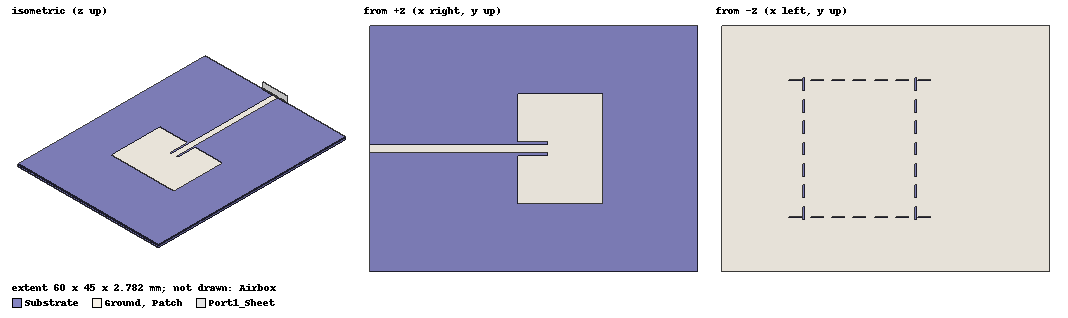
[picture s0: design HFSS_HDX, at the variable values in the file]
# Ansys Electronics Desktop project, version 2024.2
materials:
  vacuum: permittivity=1
  RO4350B: permittivity=3.48 permeability=1 dielectric_loss_tangent=0.0037
  pec: conductivity=1e+30
  air: permittivity=1.0006 permeability=1.0000004

design HFSS_HDX (HFSS, HFSS Terminal Network, model units mm)
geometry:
  Substrate [RO4350B] = box(corner=(-30mm, -22.5mm, 0mm), size=(60mm, 45mm, 0.762mm))
  Ground [pec] = rectangle(corner=(-30mm, -22.5mm, 0mm), x_size=60mm, y_size=45mm)
  Patch [pec] = rectangle(corner=(-2.99995mm, -10.01535mm, 0.762mm), x_size=15.5383mm, y_size=20.0307mm)
  Feed = rectangle(corner=(-30mm, -0.7991mm, 0.762mm), x_size=32.58775mm, y_size=1.5982mm)
  Patch.unite(Feed)
  TopCut_0_inset_gap_top = rectangle(corner=(-2.99995mm, 0.7991mm, 0.762mm), x_size=5.5877mm, y_size=0.4795mm)
  TopCut_1_inset_gap_bottom = rectangle(corner=(-2.99995mm, -1.2786mm, 0.762mm), x_size=5.5877mm, y_size=0.4795mm)
  Patch.subtract(TopCut_0_inset_gap_top, TopCut_1_inset_gap_bottom)
  GroundCut_0_ebg_0 = rectangle(corner=(-8.1707054mm, -12.677164mm, 0mm), x_size=2.3717798mm, y_size=0.32362845mm)
  GroundCut_1_ebg_1 = rectangle(corner=(-4.2527003mm, -12.677164mm, 0mm), x_size=2.3717798mm, y_size=0.32362845mm)
  GroundCut_2_ebg_2 = rectangle(corner=(-0.33469507mm, -12.677164mm, 0mm), x_size=2.3717798mm, y_size=0.32362845mm)
  GroundCut_3_ebg_3 = rectangle(corner=(3.5833101mm, -12.677164mm, 0mm), x_size=2.3717798mm, y_size=0.32362845mm)
  GroundCut_4_ebg_4 = rectangle(corner=(7.5013153mm, -12.677164mm, 0mm), x_size=2.3717798mm, y_size=0.32362845mm)
  GroundCut_5_ebg_5 = rectangle(corner=(11.41932mm, -12.677164mm, 0mm), x_size=2.3717798mm, y_size=0.32362845mm)
  GroundCut_6_ebg_6 = rectangle(corner=(15.337326mm, -12.677164mm, 0mm), x_size=2.3717798mm, y_size=0.32362845mm)
  GroundCut_7_ebg_7 = rectangle(corner=(-8.1707054mm, 12.353536mm, 0mm), x_size=2.3717798mm, y_size=0.32362845mm)
  GroundCut_8_ebg_8 = rectangle(corner=(-4.2527003mm, 12.353536mm, 0mm), x_size=2.3717798mm, y_size=0.32362845mm)
  GroundCut_9_ebg_9 = rectangle(corner=(-0.33469507mm, 12.353536mm, 0mm), x_size=2.3717798mm, y_size=0.32362845mm)
  GroundCut_10_ebg_10 = rectangle(corner=(3.5833101mm, 12.353536mm, 0mm), x_size=2.3717798mm, y_size=0.32362845mm)
  GroundCut_11_ebg_11 = rectangle(corner=(7.5013153mm, 12.353536mm, 0mm), x_size=2.3717798mm, y_size=0.32362845mm)
  GroundCut_12_ebg_12 = rectangle(corner=(11.41932mm, 12.353536mm, 0mm), x_size=2.3717798mm, y_size=0.32362845mm)
  GroundCut_13_ebg_13 = rectangle(corner=(15.337326mm, 12.353536mm, 0mm), x_size=2.3717798mm, y_size=0.32362845mm)
  GroundCut_14_ebg_14 = rectangle(corner=(-5.6617642mm, -12.939905mm, 0mm), x_size=0.32362845mm, y_size=2.3717798mm)
  GroundCut_15_ebg_15 = rectangle(corner=(-5.6617642mm, -9.0219003mm, 0mm), x_size=0.32362845mm, y_size=2.3717798mm)
  GroundCut_16_ebg_16 = rectangle(corner=(-5.6617642mm, -5.1038951mm, 0mm), x_size=0.32362845mm, y_size=2.3717798mm)
  GroundCut_17_ebg_17 = rectangle(corner=(-5.6617642mm, -1.1858899mm, 0mm), x_size=0.32362845mm, y_size=2.3717798mm)
  GroundCut_18_ebg_18 = rectangle(corner=(-5.6617642mm, 2.7321153mm, 0mm), x_size=0.32362845mm, y_size=2.3717798mm)
  GroundCut_19_ebg_19 = rectangle(corner=(-5.6617642mm, 6.6501205mm, 0mm), x_size=0.32362845mm, y_size=2.3717798mm)
  GroundCut_20_ebg_20 = rectangle(corner=(-5.6617642mm, 10.568126mm, 0mm), x_size=0.32362845mm, y_size=2.3717798mm)
  GroundCut_21_ebg_21 = rectangle(corner=(14.876536mm, -12.939905mm, 0mm), x_size=0.32362845mm, y_size=2.3717798mm)
  GroundCut_22_ebg_22 = rectangle(corner=(14.876536mm, -9.0219003mm, 0mm), x_size=0.32362845mm, y_size=2.3717798mm)
  GroundCut_23_ebg_23 = rectangle(corner=(14.876536mm, -5.1038951mm, 0mm), x_size=0.32362845mm, y_size=2.3717798mm)
  GroundCut_24_ebg_24 = rectangle(corner=(14.876536mm, -1.1858899mm, 0mm), x_size=0.32362845mm, y_size=2.3717798mm)
  GroundCut_25_ebg_25 = rectangle(corner=(14.876536mm, 2.7321153mm, 0mm), x_size=0.32362845mm, y_size=2.3717798mm)
  GroundCut_26_ebg_26 = rectangle(corner=(14.876536mm, 6.6501205mm, 0mm), x_size=0.32362845mm, y_size=2.3717798mm)
  GroundCut_27_ebg_27 = rectangle(corner=(14.876536mm, 10.568126mm, 0mm), x_size=0.32362845mm, y_size=2.3717798mm)
  Ground.subtract(GroundCut_0_ebg_0, GroundCut_1_ebg_1, GroundCut_2_ebg_2, GroundCut_3_ebg_3, GroundCut_4_ebg_4, GroundCut_5_ebg_5, GroundCut_6_ebg_6, GroundCut_7_ebg_7, GroundCut_8_ebg_8, GroundCut_9_ebg_9, GroundCut_10_ebg_10, GroundCut_11_ebg_11, GroundCut_12_ebg_12, GroundCut_13_ebg_13, GroundCut_14_ebg_14, GroundCut_15_ebg_15, GroundCut_16_ebg_16, GroundCut_17_ebg_17, GroundCut_18_ebg_18, GroundCut_19_ebg_19, GroundCut_20_ebg_20, GroundCut_21_ebg_21, GroundCut_22_ebg_22, GroundCut_23_ebg_23, GroundCut_24_ebg_24, GroundCut_25_ebg_25, GroundCut_26_ebg_26, GroundCut_27_ebg_27)
  Airbox [air] = box(corner=(-30mm, -42.5mm, -20mm), size=(80mm, 85mm, 40.762mm))
  Port1_Sheet = rectangle(corner=(-30mm, -3.9955mm, -0.02mm), y_size=7.991mm, z_size=2.782mm)
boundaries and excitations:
  Copper_PEC: Perfect E Objects=[Ground, Patch]
  Radiation: Radiation Objects=Airbox
  Port1: Wave Port Objects=Port1_Sheet WavePortType=Modal NumModes=1 Modes{Mode1{CharImp=Zpi RenormImp=50ohm}}
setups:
  Setup1: HfssDriven Frequency=5GHz MaxDeltaS=0.02 MaximumPasses=10 MinimumPasses=1 MinimumConvergedPasses=1 PercentRefinement=30 BasisOrder=1 PortAccuracy=2 DrivenSolverType="Direct Solver"
    sweep Sweep_4_6GHz: 4GHz to 6GHz, 101 points; Type=Interpolating SaveRadFields InterpTolerance=0.5 InterpMaxSolns=250 InterpUsePortImped=false PassivityErrorTolerance=0.0001
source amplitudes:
  Port1:1: 1V 0deg
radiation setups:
  InfiniteSphere_EH_Cuts: Infinite Sphere Theta=-180deg..180deg step 1deg Phi=-90deg..90deg step 90deg
